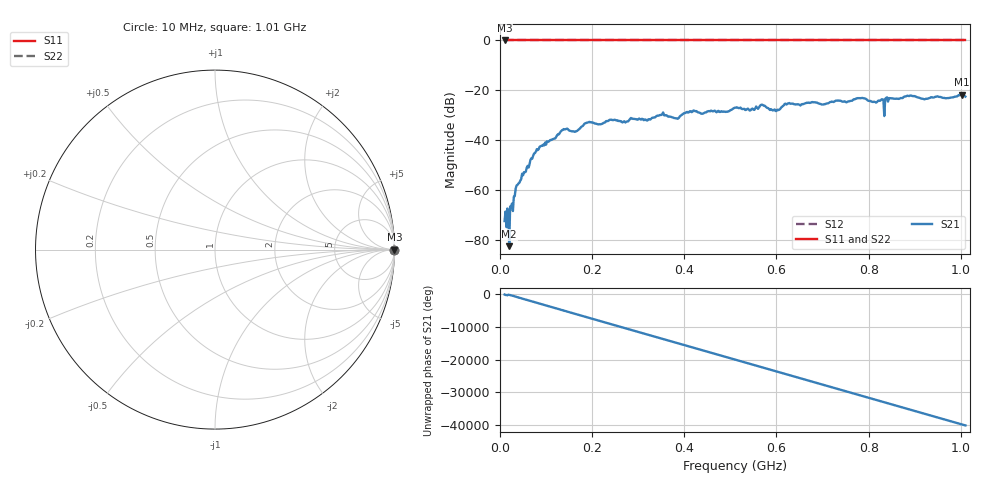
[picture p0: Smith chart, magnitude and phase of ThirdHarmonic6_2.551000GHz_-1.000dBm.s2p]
! 8/17/2025 5:13:02 AM
! C:\ANRITSUVNA\TEMP\TEMP.S2P
! CHANNEL.1
! TR.MEASUREMENT
! RAW.DATA
! RF.CORRECTION.OFF
! AVERAGING.OFF
! IF.BANDWIDTH: 5KHZ
! SWEEPTYPE:  FREQ.SWEEP(Linear)
! Reference Plane Port Info
! PORT:  PORT1  PORT2
! DISTANCE:  0  m  0  m
! TIME:  0  s  0  s
! PHASE.OFFSET:  0  deg.  0  deg.
! LOSS:  0  dB  0  dB
! REF.LOSS:  0  dB  0  dB
! REF.FREQ:  0  Hz  0  Hz
! Power Info
! POWER:  -20  dBm  -20  dBm
! EFF.POWER:  -20  dBm  -20  dBm
! SOURCE.ATTEN:  0  dB  0  dB
! TEST.ATTEN:  0  dB  0  dB
# GHZ S RI R 50.0
! FREQ.GHZ  S11RE  S11IM  S21RE  S21IM  S12RE  S12IM  S22RE  S22IM
!; PortSelection: Port_12
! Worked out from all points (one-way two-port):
!   501 points, 10 MHz to 1.01 GHz, reference 50 ohm
!   highest |S21| = -21.76 dB at 1.002 GHz (marker M1); lowest = -82.4 dB at 20 MHz (marker M2)
!   lowest |S11| = 0.0 dB at 10 MHz (marker M3)
!   |S11| at or under -10 dB: nowhere
!   |S22| runs from 0.0 to 0.0 dB; largest |S21 - S12| = 1.1
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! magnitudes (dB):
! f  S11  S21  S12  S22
! 10 MHz  0.0  -72.4  0.0  0.0
! 20 MHz  0.0  -82.4  0.0  0.0
! 24 MHz  0.0  -66.8  0.0  0.0
! 26 MHz  0.0  -65.4  0.0  0.0
! 38 MHz  0.0  -57.8  0.0  0.0
! 76 MHz  0.0  -45.1  0.0  0.0
! 136 MHz  0.0  -35.9  0.0  0.0
! 164 MHz  0.0  -36.5  0.0  0.0
! 178 MHz  0.0  -34.4  0.0  0.0
! 344 MHz  0.0  -30.1  0.0  0.0
! 384 MHz  0.0  -31.3  0.0  0.0
! 416 MHz  0.0  -28.7  0.0  0.0
! 510 MHz  0.0  -26.9  0.0  0.0
! 570 MHz  0.0  -25.8  0.0  0.0
! 602 MHz  0.0  -27.7  0.0  0.0
! 622 MHz  0.0  -25.7  0.0  0.0
! 678 MHz  0.0  -24.7  0.0  0.0
! 784 MHz  0.0  -23.1  0.0  0.0
! 830 MHz  0.0  -23.6  0.0  0.0
! 844 MHz  0.0  -23.1  0.0  0.0
! 1.002 GHz  0.0  -21.8  0.0  0.0
! 1.01 GHz  0.0  -22.5  0.0  0.0
